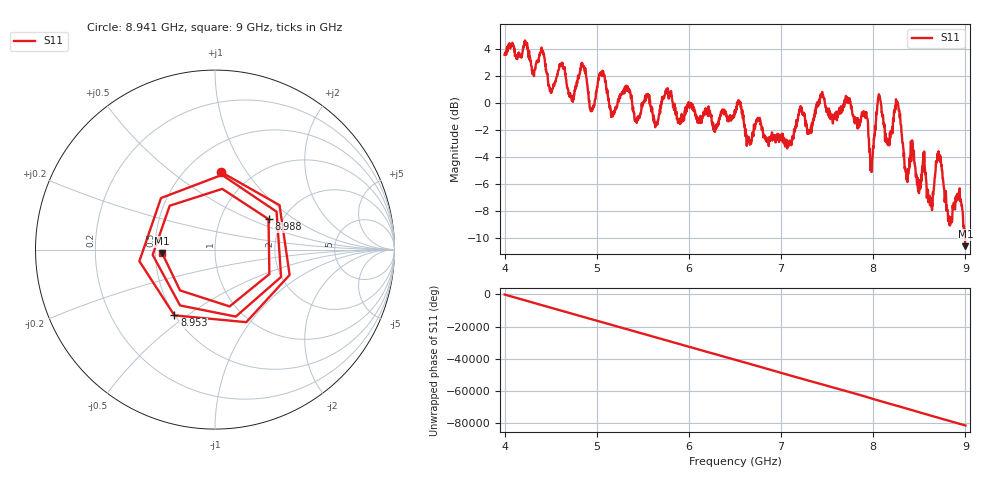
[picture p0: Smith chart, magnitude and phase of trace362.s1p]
! Created with skrf 1.8.0 (http://scikit-rf.org).
# Hz S RI R 50.0
!freq ReS11 ImS11
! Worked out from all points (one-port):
!   1601 points, 4 GHz to 9 GHz, reference 50 ohm
!   lowest |S11| = -10.6 dB at 9 GHz (marker M1), VSWR 1.84, Z = 27.2 - j1.21 ohm
!   |S11| at or under -10 dB: 8.995136 GHz to end of sweep
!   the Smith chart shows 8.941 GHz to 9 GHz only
!   S11 on the Smith chart (normalised r, x): 8.941 GHz: 0.72, +0.77; 8.953 GHz: 0.50, -0.45; 8.988 GHz: 1.69, +0.65; 9 GHz: 0.54, -0.02
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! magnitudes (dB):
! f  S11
! 4 GHz  3.6
! 4.409 GHz  3.9
! 4.5 GHz  0.9
! 4.625 GHz  3.0
! 4.728 GHz  0.3
! 4.856 GHz  2.7
! 4.947 GHz  -0.6
! 5.047 GHz  2.2
! 5.162 GHz  -0.8
! 5.25 GHz  0.5
! 5.875 GHz  -1.1
! 6.5 GHz  -0.8
! 7.125 GHz  -2.4
! 7.75 GHz  0.1
! 7.919 GHz  -0.7
! 7.978 GHz  -5.1
! 8.059 GHz  0.5
! 8.153 GHz  -3.0
! 8.259 GHz  0.0
! 8.375 GHz  -4.9
! 8.425 GHz  -3.0
! 8.622 GHz  -7.4
! 8.716 GHz  -4.0
! 8.831 GHz  -8.8
! 8.941 GHz  -7.3
! 8.953 GHz  -7.3
! 8.988 GHz  -9.3
! 9 GHz  -10.6
